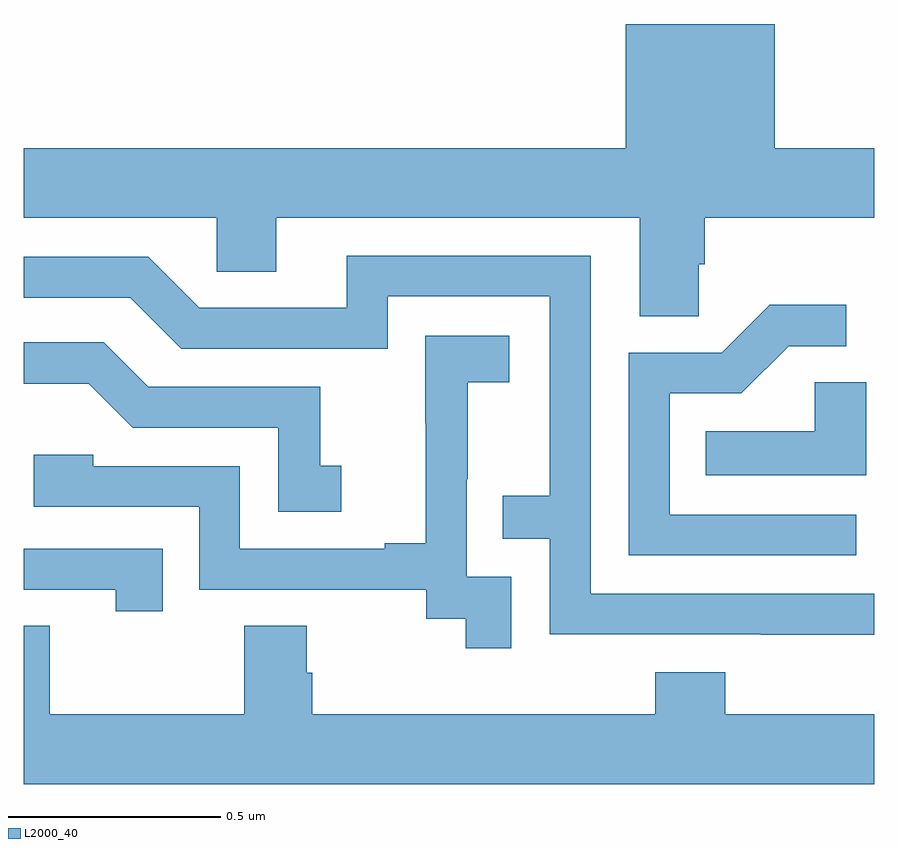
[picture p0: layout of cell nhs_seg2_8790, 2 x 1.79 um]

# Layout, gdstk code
import gdstk
lib = gdstk.Library(unit=1e-6, precision=1e-09)
def P(c, l, *ps):  # polygons
    for p in ps: c.add(gdstk.Polygon(p, *l))
L2000_40 = (2000, 40)

nhs_seg2_8790 = lib.new_cell('nhs_seg2_8790')
P(nhs_seg2_8790, L2000_40, [(222.588,606.235),(222.602,606.235),(222.602,606.344),(223,606.344),(223,606.508),(222.766,606.508),(222.766,606.8),(222.416,606.8),(222.416,606.508),(221,606.508),(221,606.344),(221.454,606.344),(221.454,606.217),(221.593,606.217),(221.593,606.344),(222.449,606.344),(222.449,606.112),(222.588,606.112)],
  [(223,605.46),(222.333,605.46),(222.333,606.255),(221.759,606.255),(221.759,606.132),(221.412,606.132),(221.292,606.252),(221,606.252),(221,606.156),(221.25,606.156),(221.37,606.036),(221.856,606.036),(221.856,606.159),(222.237,606.159),(222.237,605.69),(222.127,605.69),(222.127,605.589),(222.237,605.589),(222.237,605.364),(222.733,605.364),(222.733,605.363),(223,605.363)],
  [(222.958,605.646),(222.519,605.646),(222.519,605.931),(222.688,605.931),(222.799,606.042),(222.934,606.042),(222.934,606.14),(222.755,606.14),(222.642,606.027),(222.423,606.027),(222.423,605.55),(222.958,605.55)],
  [(222.147,605.499),(222.042,605.499),(222.042,605.729),(222.044,605.729),(222.044,605.957),(222.142,605.957),(222.142,606.067),(221.944,606.067),(221.944,605.861),(221.945,605.861),(221.945,605.578),(221.849,605.578),(221.849,605.565),(221.508,605.565),(221.508,605.76),(221.163,605.76),(221.163,605.787),(221.023,605.787),(221.023,605.664),(221.412,605.664),(221.412,605.469),(221.946,605.469),(221.946,605.401),(222.039,605.401),(222.039,605.331),(222.147,605.331)],
  [(221.746,605.761),(221.697,605.761),(221.697,605.946),(221.293,605.946),(221.188,606.051),(221,606.051),(221,605.954),(221.152,605.954),(221.256,605.85),(221.598,605.85),(221.598,605.652),(221.746,605.652)],
  [(222.982,605.957),(222.861,605.957),(222.861,605.842),(222.604,605.842),(222.604,605.738),(222.982,605.738)],
  [(221.327,605.565),(221,605.565),(221,605.469),(221.216,605.469),(221.216,605.418),(221.327,605.418)],
  [(223,605.176),(222.65,605.176),(222.65,605.275),(222.485,605.275),(222.485,605.176),(221.678,605.176),(221.678,605.274),(221.665,605.274),(221.665,605.384),(221.518,605.384),(221.518,605.176),(221.061,605.176),(221.061,605.384),(221,605.384),(221,605.012),(223,605.012)])

lib.write_gds('nhs_seg2_8790.gds')
